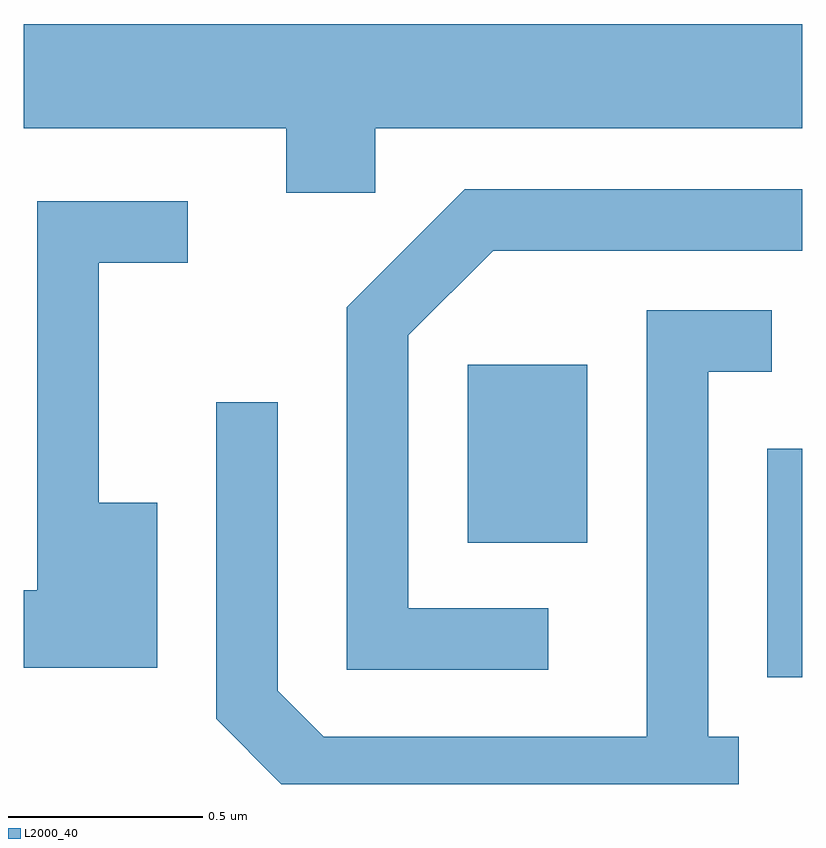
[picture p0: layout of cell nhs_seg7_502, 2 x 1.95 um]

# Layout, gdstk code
import gdstk
lib = gdstk.Library(unit=1e-6, precision=1e-09)
def R(c, l, rs):  # rectangles x0, y0, x1, y1
    for r in rs: c.add(gdstk.rectangle(r[:2], r[2:], *l))
def P(c, l, *ps):  # polygons
    for p in ps: c.add(gdstk.Polygon(p, *l))
L2000_40 = (2000, 40)

nhs_seg7_502 = lib.new_cell('nhs_seg7_502')
R(nhs_seg7_502, L2000_40, [(190.521,1759.526,190.611,1760.113), (189.751,1759.871,190.059,1760.329)])
P(nhs_seg7_502, L2000_40, [(189.514,1760.936),(190.611,1760.936),(190.611,1761.204),(188.611,1761.204),(188.611,1760.936),(189.286,1760.936),(189.286,1760.771),(189.514,1760.771)],
  [(189.958,1759.704),(189.599,1759.704),(189.599,1760.404),(189.817,1760.621),(190.611,1760.621),(190.611,1760.779),(189.744,1760.779),(189.441,1760.477),(189.441,1759.546),(189.958,1759.546)],
  [(188.954,1759.974),(188.804,1759.974),(188.804,1760.591),(189.033,1760.591),(189.033,1760.749),(188.646,1760.749),(188.646,1759.749),(188.611,1759.749),(188.611,1759.551),(188.954,1759.551)],
  [(190.448,1759.374),(190.369,1759.374),(190.369,1760.311),(190.533,1760.311),(190.533,1760.469),(190.211,1760.469),(190.211,1759.374),(189.382,1759.374),(189.264,1759.492),(189.264,1760.233),(189.106,1760.233),(189.106,1759.419),(189.273,1759.252),(190.448,1759.252)])

lib.write_gds('nhs_seg7_502.gds')
